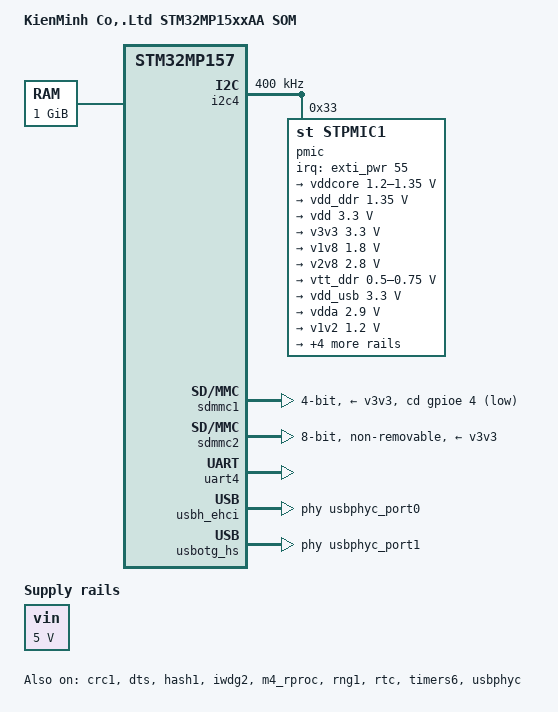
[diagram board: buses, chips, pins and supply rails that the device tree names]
// SPDX-License-Identifier: (GPL-2.0+ OR BSD-3-Clause)
/*
 * Copyright (C) KienMinh Co,.Ltd 2021 - All Rights Reserved
 * Author: Phu Truong <phutruong@kienminh.net> for KienMinh Co,.Ltd.
 */

/dts-v1/;
#include <dt-bindings/pinctrl/stm32-pinfunc.h>

#include "stm32mp157.dtsi"
#include "stm32mp15xc.dtsi"
#include "stm32mp15-kmt-pinctrl.dtsi"
#include "stm32mp15xxaa-pinctrl.dtsi"

#include <dt-bindings/gpio/gpio.h>
#include <dt-bindings/mfd/st,stpmic1.h>
#include <dt-bindings/input/input.h>
#include <dt-bindings/soc/stm32-hdp.h>

/ {
	model = "KienMinh Co,.Ltd STM32MP15xxAA SOM";
	compatible = "st,stm32mp15xxaa-kmt", "st,stm32mp157";

	chosen {
		stdout-path = "serial0:115200n8";
	};

	aliases {
		serial0 = &uart4;
	};

	memory@c0000000 {
		device_type = "memory";
		reg = <0xC0000000 0x40000000>;
	};

	usb_phy_tuning: usb-phy-tuning {
		st,hs-dc-level = <2>;
		st,fs-rftime-tuning;
		st,hs-rftime-reduction;
		st,hs-current-trim = <15>;
		st,hs-impedance-trim = <1>;
		st,squelch-level = <3>;
		st,hs-rx-offset = <2>;
		st,no-lsfs-sc;
	};

	reserved-memory {
		#address-cells = <1>;
		#size-cells = <1>;
		ranges;

		mcuram2: mcuram2@10000000 {
			compatible = "shared-dma-pool";
			reg = <0x10000000 0x40000>;
			no-map;
		};

		vdev0vring0: vdev0vring0@10040000 {
			compatible = "shared-dma-pool";
			reg = <0x10040000 0x1000>;
			no-map;
		};

		vdev0vring1: vdev0vring1@10041000 {
			compatible = "shared-dma-pool";
			reg = <0x10041000 0x1000>;
			no-map;
		};

		vdev0buffer: vdev0buffer@10042000 {
			compatible = "shared-dma-pool";
			reg = <0x10042000 0x4000>;
			no-map;
		};

		mcuram: mcuram@30000000 {
			compatible = "shared-dma-pool";
			reg = <0x30000000 0x40000>;
			no-map;
		};

		retram: retram@38000000 {
			compatible = "shared-dma-pool";
			reg = <0x38000000 0x10000>;
			no-map;
		};
	};

	vin: vin {
		compatible = "regulator-fixed";
		regulator-name = "vin";
		regulator-min-microvolt = <5000000>;
		regulator-max-microvolt = <5000000>;
		regulator-always-on;
	};
};
&cpu0{
	cpu-supply = <&vddcore>;
};

&cpu1{
	cpu-supply = <&vddcore>;
};

&crc1 {
	status = "okay";
};

&dma1 {
	sram = <&dma_pool>;
};

&dma2 {
	sram = <&dma_pool>;
};

&dts {
	status = "okay";
};

&hash1 {
	status = "okay";
};

&i2c4 {
	pinctrl-names = "default", "sleep";
	pinctrl-0 = <&i2c4_pins_z_mx>;
	pinctrl-1 = <&i2c4_sleep_pins_z_mx>;
	i2c-scl-rising-time-ns = <185>;
	i2c-scl-falling-time-ns = <20>;
	clock-frequency = <400000>;
	status = "okay";
	/* spare dmas for other usage */
	/delete-property/dmas;
	/delete-property/dma-names;

	pmic: stpmic@33 {
		compatible = "st,stpmic1";
		reg = <0x33>;
		interrupts-extended = <&exti_pwr 55 IRQ_TYPE_EDGE_FALLING>;
		interrupt-controller;
		#interrupt-cells = <2>;
		status = "okay";
		regulators {
			compatible = "st,stpmic1-regulators";
			buck1-supply = <&vin>;
			buck2-supply = <&vin>;
			buck3-supply = <&vin>;
			buck4-supply = <&vin>;
			ldo1-supply = <&v3v3>;
			ldo2-supply = <&vin>;
			ldo3-supply = <&vdd_ddr>;
			ldo4-supply = <&vin>;
			ldo5-supply = <&vin>;
			ldo6-supply = <&v3v3>;
			vref_ddr-supply = <&vin>;
			boost-supply = <&vin>;
			pwr_sw1-supply = <&bst_out>;
			pwr_sw2-supply = <&bst_out>;

			vddcore: buck1 {
				regulator-name = "vddcore";
				regulator-min-microvolt = <1200000>;
				regulator-max-microvolt = <1350000>;
				regulator-always-on;
				regulator-initial-mode = <0>;
				regulator-over-current-protection;
			};

			vdd_ddr: buck2 {
				regulator-name = "vdd_ddr";
				regulator-min-microvolt = <1350000>;
				regulator-max-microvolt = <1350000>;
				regulator-always-on;
				regulator-initial-mode = <0>;
				regulator-over-current-protection;
			};

			vdd: buck3 {
				regulator-name = "vdd";
				regulator-min-microvolt = <3300000>;
				regulator-max-microvolt = <3300000>;
				regulator-always-on;
				st,mask-reset;
				regulator-initial-mode = <0>;
				regulator-over-current-protection;
			};

			v3v3: buck4 {
				regulator-name = "v3v3";
				regulator-min-microvolt = <3300000>;
				regulator-max-microvolt = <3300000>;
				regulator-always-on;
				regulator-over-current-protection;
				regulator-initial-mode = <0>;
			};

			v1v8: ldo1 {
				regulator-name = "v1v8";
				regulator-min-microvolt = <1800000>;
				regulator-max-microvolt = <1800000>;
				regulator-always-on;
				interrupts = <IT_CURLIM_LDO1 0>;
			};

			v2v8: ldo2 {
				regulator-name = "v2v8";
				regulator-min-microvolt = <2800000>;
				regulator-max-microvolt = <2800000>;
				regulator-always-on;
				interrupts = <IT_CURLIM_LDO2 0>;
			};

			vtt_ddr: ldo3 {
				regulator-name = "vtt_ddr";
				regulator-min-microvolt = <500000>;
				regulator-max-microvolt = <750000>;
				regulator-always-on;
				regulator-over-current-protection;
			};

			vdd_usb: ldo4 {
				regulator-name = "vdd_usb";
				regulator-min-microvolt = <3300000>;
				regulator-max-microvolt = <3300000>;
				interrupts = <IT_CURLIM_LDO4 0>;
				regulator-always-on;
			};

			vdda: ldo5 {
				regulator-name = "vdda";
				regulator-min-microvolt = <2900000>;
				regulator-max-microvolt = <2900000>;
				interrupts = <IT_CURLIM_LDO5 0>;
				regulator-boot-on;
			};

			v1v2: ldo6 {
				regulator-name = "v1v2";
				regulator-min-microvolt = <1200000>;
				regulator-max-microvolt = <1200000>;
				regulator-always-on;
				interrupts = <IT_CURLIM_LDO6 0>;
			};

			vref_ddr: vref_ddr {
				regulator-name = "vref_ddr";
				regulator-always-on;
				regulator-over-current-protection;
			};

			bst_out: boost {
				regulator-name = "bst_out";
				interrupts = <IT_OCP_BOOST 0>;
			};

			vbus_otg: pwr_sw1 {
				regulator-name = "vbus_otg";
				interrupts = <IT_OCP_OTG 0>;
			};

			vbus_sw: pwr_sw2 {
				regulator-name = "vbus_sw";
				interrupts = <IT_OCP_SWOUT 0>;
				regulator-active-discharge = <1>;
			};
		};

		onkey {
			compatible = "st,stpmic1-onkey";
			interrupts = <IT_PONKEY_F 0>, <IT_PONKEY_R 0>;
			interrupt-names = "onkey-falling", "onkey-rising";
			power-off-time-sec = <10>;
			status = "okay";
		};

		watchdog {
			compatible = "st,stpmic1-wdt";
			status = "disabled";
		};
	};
};


&ipcc {
	status = "okay";
};

&iwdg2 {
	timeout-sec = <32>;
	status = "okay";
};

&m4_rproc {
	memory-region = <&retram>, <&mcuram>, <&mcuram2>, <&vdev0vring0>,
			<&vdev0vring1>, <&vdev0buffer>;
	mboxes = <&ipcc 0>, <&ipcc 1>, <&ipcc 2>;
	mbox-names = "vq0", "vq1", "shutdown";
	interrupt-parent = <&exti>;
	interrupts = <68 1>;
	wakeup-source;
	status = "okay";
};

&pwr_regulators {
	vdd-supply = <&vdd>;
	vdd_3v3_usbfs-supply = <&vdd_usb>;
};

&rng1 {
	status = "okay";
};

&rtc {
	status = "okay";
};

/* sd Card */
&sdmmc1 {
	pinctrl-names = "default", "opendrain", "sleep";
	pinctrl-0 = <&sdmmc1_pins_mx>;
	pinctrl-1 = <&sdmmc1_opendrain_pins_mx>;
	pinctrl-2 = <&sdmmc1_sleep_pins_mx>;
	cd-gpios = <&gpioe 4 (GPIO_ACTIVE_LOW | GPIO_PULL_UP)>;
	disable-wp;
	st,neg-edge;
	bus-width = <4>;
	vmmc-supply = <&v3v3>;
	status = "okay";
};

/* eMMC */
&sdmmc2 {
	u-boot,dm-pre-reloc;
	pinctrl-names = "default", "opendrain", "sleep";
	pinctrl-0 = <&sdmmc2_pins_mx>;
	pinctrl-1 = <&sdmmc2_opendrain_pins_mx>;
	pinctrl-2 = <&sdmmc2_sleep_pins_mx>;
	non-removable;
	no-sd;
	no-sdio;
	st,neg-edge;
	bus-width = <8>;
	vmmc-supply = <&v3v3>;
	vqmmc-supply = <&vdd>;
	mmc-ddr-3_3v;
	status = "okay";
};

&sram {
	dma_pool: dma_pool@0 {
		reg = <0x50000 0x10000>;
		pool;
	};
};

&timers6 {
	status = "okay";
	/* spare dmas for other usage */
	/delete-property/dmas;
	/delete-property/dma-names;
	timer@5 {
		status = "okay";
	};
};

&uart4 {
	pinctrl-names = "default", "sleep", "idle";
	pinctrl-0 = <&uart4_pins_mx>;
	pinctrl-1 = <&uart4_sleep_pins_mx>;
	pinctrl-2 = <&uart4_idle_pins_mx>;
	/delete-property/dmas;
	/delete-property/dma-names;
	status = "okay";
};

&usbh_ehci {
	phys = <&usbphyc_port0>;
	status = "okay";
};

&usbotg_hs {
	phys = <&usbphyc_port1 1>;
	phy-names = "usb2-phy";
	usb-role-switch;
	status = "okay";
};

&usbphyc {
	status = "okay";
};

&usbphyc_port0 {
	phy-supply = <&vdd_usb>;
	st,phy-tuning = <&usb_phy_tuning>;
};

&usbphyc_port1 {
	phy-supply = <&vdd_usb>;
	st,phy-tuning = <&usb_phy_tuning>;
};
